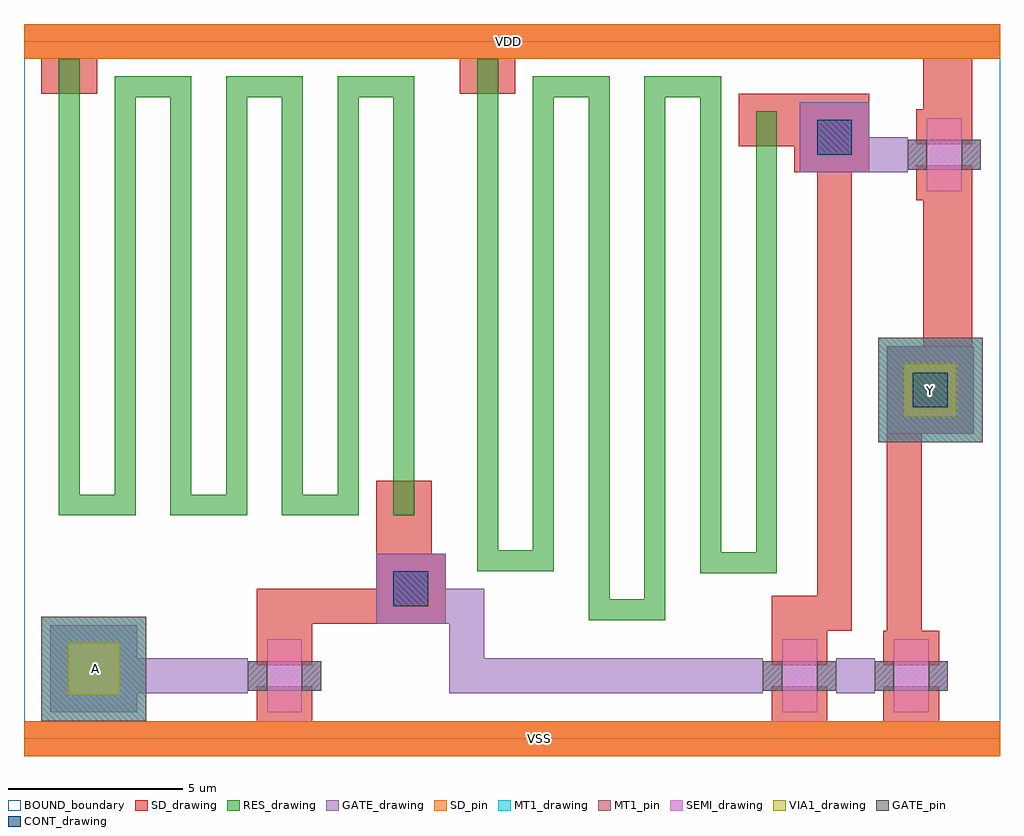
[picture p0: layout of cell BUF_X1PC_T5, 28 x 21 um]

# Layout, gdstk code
from math import pi, radians
import gdstk
lib = gdstk.Library(unit=1e-6, precision=1e-09)
def R(c, l, rs):  # rectangles x0, y0, x1, y1
    for r in rs: c.add(gdstk.rectangle(r[:2], r[2:], *l))
def P(c, l, *ps):  # polygons
    for p in ps: c.add(gdstk.Polygon(p, *l))
RES_drawing = (1, 0)
SEMI_drawing = (3, 0)
SD_drawing = (10, 0)
SD_pin = (10, 3)
GATE_drawing = (11, 0)
GATE_pin = (11, 3)
MT1_drawing = (20, 0)
MT1_pin = (20, 3)
CONT_drawing = (30, 0)
VIA1_drawing = (41, 0)
BOUND_boundary = (150, 5)

nch_cdns_772544872530 = lib.new_cell('nch_CDNS_772544872530')
R(nch_cdns_772544872530, SEMI_drawing, [(-1.05,-0.5,1.05,0.5)])
R(nch_cdns_772544872530, SD_drawing, [(-1.3,-0.8,-0.3,0.8), (0.3,-0.8,1.3,0.8)])
R(nch_cdns_772544872530, GATE_drawing, [(-0.425,-1.05,0.425,1.05)])
R(nch_cdns_772544872530, GATE_pin, [(-0.425,-1.05,0.425,-0.5), (-0.425,0.5,0.425,1.05)])

gate_mt1_cdns_7725448725 = lib.new_cell('GATE_MT1_CDNS_772544872530')
R(gate_mt1_cdns_7725448725, GATE_drawing, [(-1.25,-1.25,1.25,1.25)])
R(gate_mt1_cdns_7725448725, MT1_drawing, [(-1.25,-1.25,1.25,1.25)])
R(gate_mt1_cdns_7725448725, VIA1_drawing, [(-0.75,-0.75,0.75,0.75)])

sd_gate_cdns_77254487253 = lib.new_cell('SD_GATE_CDNS_772544872531')
R(sd_gate_cdns_77254487253, SD_drawing, [(-1,-1,1,1)])
R(sd_gate_cdns_77254487253, GATE_drawing, [(-1,-1,1,1)])
R(sd_gate_cdns_77254487253, CONT_drawing, [(-0.5,-0.5,0.5,0.5)])

buf_x1pc_t5 = lib.new_cell('BUF_X1PC_T5')
R(buf_x1pc_t5, SD_drawing, [(10.1,3.8,11.7,7.4), (24.75,8.75,27.25,11.25), (22.1,16.25,24.25,18.5), (20.5,17,22.1,18.5), (0.5,18.5,2.1,20), (12.5,18.5,14.1,20)])
R(buf_x1pc_t5, SD_pin, [(0,-0.5,28,0.5), (0,19.5,28,20.5)])
P(buf_x1pc_t5, GATE_drawing, [(6.325,2.3),(6.325,1.3),(6.425,1.3),(6.425,1.425),(6.475,1.425),(6.475,2.175),(6.425,2.175),(6.425,2.3)],
  [(21.1,2.3),(21.1,1.3),(21.2,1.3),(21.2,1.425),(21.25,1.425),(21.25,2.175),(21.2,2.175),(21.2,2.3)],
  [(24.3,2.3),(24.3,1.3),(24.4,1.3),(24.4,1.425),(24.45,1.425),(24.45,2.175),(24.4,2.175),(24.4,2.3)],
  [(23.4,2.3),(23.4,1.3),(23.3,1.3),(23.3,1.425),(23.25,1.425),(23.25,2.175),(23.3,2.175),(23.3,2.3)],
  [(25.25,17.25),(25.25,16.25),(25.35,16.25),(25.35,16.375),(25.4,16.375),(25.4,17.125),(25.35,17.125),(25.35,17.25)])
R(buf_x1pc_t5, MT1_drawing, [(0.5,0.5,3.5,3.5), (24.5,8.5,27.5,11.5)])
R(buf_x1pc_t5, MT1_pin, [(0.5,0.5,3.5,3.5), (24.5,8.5,27.5,11.5)])
R(buf_x1pc_t5, BOUND_boundary, [(0,0,28,20)])
buf_x1pc_t5.add(gdstk.FlexPath([(7.475,3.1),(7.475,3.8)], 1.6, ends=(0, 0.5), simple_path=True, layer=10, datatype=0))  # SD_drawing
buf_x1pc_t5.add(gdstk.FlexPath([(7.475,3.8),(7.475,4.3)], 1.6, ends=(0.5, 0), simple_path=True, layer=10, datatype=0))  # SD_drawing
buf_x1pc_t5.add(gdstk.FlexPath([(26.5,15.45),(26.5,11.15)], 1.4, ends="flush", simple_path=True, layer=10, datatype=0))  # SD_drawing
buf_x1pc_t5.add(gdstk.FlexPath([(21.95,3.1),(21.95,3.6)], 1, ends=(0, 0.5), simple_path=True, layer=10, datatype=0))  # SD_drawing
buf_x1pc_t5.add(gdstk.FlexPath([(23.25,3.6),(23.25,18.25)], 1, ends=(0.5, 0), simple_path=True, layer=10, datatype=0))  # SD_drawing
buf_x1pc_t5.add(gdstk.FlexPath([(21.95,3.6),(23.25,3.6)], 1, ends="extended", simple_path=True, layer=10, datatype=0))  # SD_drawing
buf_x1pc_t5.add(gdstk.FlexPath([(26.5,18.05),(26.5,19.5)], 1.4, ends="flush", simple_path=True, layer=10, datatype=0))  # SD_drawing
buf_x1pc_t5.add(gdstk.FlexPath([(7.475,3.8),(11.65,3.8)], 1, ends=(0.8, 0), simple_path=True, layer=10, datatype=0))  # SD_drawing
buf_x1pc_t5.add(gdstk.FlexPath([(25.25,3.1),(25.25,11.25)], 1, ends="flush", simple_path=True, layer=10, datatype=0))  # SD_drawing
buf_x1pc_t5.add(gdstk.FlexPath([(6.775,3.8),(7.475,3.8)], 1, ends=(0, 0.8), simple_path=True, layer=10, datatype=0))  # SD_drawing
buf_x1pc_t5.add(gdstk.FlexPath([(0,20),(28,20)], 1, ends="flush", simple_path=True, layer=10, datatype=0))  # SD_drawing
buf_x1pc_t5.add(gdstk.FlexPath([(0,0),(28,0)], 1, ends="flush", simple_path=True, layer=10, datatype=0))  # SD_drawing
buf_x1pc_t5.add(gdstk.FlexPath([(1.3,19.5),(1.3,6.7),(2.9,6.7),(2.9,18.7),(4.5,18.7),(4.5,6.7),(6.1,6.7),(6.1,18.7),(7.7,18.7),(7.7,6.7),(9.3,6.7),(9.3,18.7),(10.9,18.7),(10.9,6.4)], 0.6, ends="flush", simple_path=True, layer=1, datatype=0))  # RES_drawing
buf_x1pc_t5.add(gdstk.FlexPath([(13.3,19.5),(13.3,5.1),(14.9,5.1),(14.9,18.7),(16.5,18.7),(16.5,3.7),(18.1,3.7),(18.1,18.7),(19.7,18.7),(19.7,5.05),(21.3,5.05),(21.3,18)], 0.6, ends="flush", simple_path=True, layer=1, datatype=0))  # RES_drawing
buf_x1pc_t5.add(gdstk.FlexPath([(10.7,4.3),(10.7,3.8)], 1, ends=(0, 0.5), simple_path=True, layer=11, datatype=0))  # GATE_drawing
buf_x1pc_t5.add(gdstk.FlexPath([(10.7,3.8),(12.7,3.8)], 1, ends="extended", simple_path=True, layer=11, datatype=0))  # GATE_drawing
buf_x1pc_t5.add(gdstk.FlexPath([(25.25,16.75),(22.75,16.75)], 1, ends="flush", simple_path=True, layer=11, datatype=0))  # GATE_drawing
buf_x1pc_t5.add(gdstk.FlexPath([(24.3,1.8),(23.4,1.8)], 1, ends="flush", simple_path=True, layer=11, datatype=0))  # GATE_drawing
buf_x1pc_t5.add(gdstk.FlexPath([(12.7,1.8),(21.1,1.8)], 1, ends=(0.5, 0), simple_path=True, layer=11, datatype=0))  # GATE_drawing
buf_x1pc_t5.add(gdstk.FlexPath([(12.7,3.8),(12.7,1.8)], 1, ends="extended", simple_path=True, layer=11, datatype=0))  # GATE_drawing
buf_x1pc_t5.add(gdstk.FlexPath([(6.325,1.8),(1.95,1.8)], 1, ends="flush", simple_path=True, layer=11, datatype=0))  # GATE_drawing
buf_x1pc_t5.add(gdstk.Reference(nch_cdns_772544872530, (22.25,1.8), rotation=pi/2, x_reflection=True))
buf_x1pc_t5.add(gdstk.Reference(nch_cdns_772544872530, (26.4,16.75), rotation=3*pi/2, x_reflection=True))
buf_x1pc_t5.add(gdstk.Reference(nch_cdns_772544872530, (25.45,1.8), rotation=pi/2, x_reflection=True))
buf_x1pc_t5.add(gdstk.Reference(nch_cdns_772544872530, (7.475,1.8), rotation=pi/2))
buf_x1pc_t5.add(gdstk.Reference(gate_mt1_cdns_7725448725, (26,10)))
buf_x1pc_t5.add(gdstk.Reference(gate_mt1_cdns_7725448725, (2,2)))
buf_x1pc_t5.add(gdstk.Reference(sd_gate_cdns_77254487253, (23.25,17.25), rotation=pi, x_reflection=True))
buf_x1pc_t5.add(gdstk.Reference(sd_gate_cdns_77254487253, (11.1,4.3)))
buf_x1pc_t5.add(gdstk.Reference(sd_gate_cdns_77254487253, (26,10)))
buf_x1pc_t5.add(gdstk.Label('VSS', (14.8,0), layer=10, texttype=3))
buf_x1pc_t5.add(gdstk.Label('VDD', (13.9,20), layer=10, texttype=3))
buf_x1pc_t5.add(gdstk.Label('Y', (26,10), layer=20, texttype=3))
buf_x1pc_t5.add(gdstk.Label('A', (2.05,2), layer=20, texttype=3))

lib.write_gds('BUF_X1PC_T5.gds')
